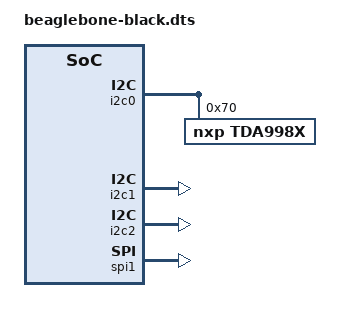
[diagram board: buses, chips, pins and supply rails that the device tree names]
/*-
 * Copyright (c) 2015 Oleksandr Tymoshenko <gonzo@freebsd.org>
 * All rights reserved.
 *
 * Redistribution and use in source and binary forms, with or without
 * modification, are permitted provided that the following conditions
 * are met:
 * 1. Redistributions of source code must retain the above copyright
 *    notice, this list of conditions and the following disclaimer.
 * 2. Redistributions in binary form must reproduce the above copyright
 *    notice, this list of conditions and the following disclaimer in the
 *    documentation and/or other materials provided with the distribution.
 *
 * THIS SOFTWARE IS PROVIDED BY THE AUTHOR AND CONTRIBUTORS ``AS IS'' AND
 * ANY EXPRESS OR IMPLIED WARRANTIES, INCLUDING, BUT NOT LIMITED TO, THE
 * IMPLIED WARRANTIES OF MERCHANTABILITY AND FITNESS FOR A PARTICULAR PURPOSE
 * ARE DISCLAIMED.  IN NO EVENT SHALL THE AUTHOR OR CONTRIBUTORS BE LIABLE
 * FOR ANY DIRECT, INDIRECT, INCIDENTAL, SPECIAL, EXEMPLARY, OR CONSEQUENTIAL
 * DAMAGES (INCLUDING, BUT NOT LIMITED TO, PROCUREMENT OF SUBSTITUTE GOODS
 * OR SERVICES; LOSS OF USE, DATA, OR PROFITS; OR BUSINESS INTERRUPTION)
 * HOWEVER CAUSED AND ON ANY THEORY OF LIABILITY, WHETHER IN CONTRACT, STRICT
 * LIABILITY, OR TORT (INCLUDING NEGLIGENCE OR OTHERWISE) ARISING IN ANY WAY
 * OUT OF THE USE OF THIS SOFTWARE, EVEN IF ADVISED OF THE POSSIBILITY OF
 * SUCH DAMAGE.
 * 
 * $FreeBSD$
 */


#include "am335x-boneblack.dts"
#include "beaglebone-common.dtsi"

&am33xx_pinmux {
	i2c1_pins: pinmux_i2c1_pins {
		pinctrl-single,pins = <
			AM33XX_IOPAD(0x958, PIN_INPUT_PULLUP | MUX_MODE2)	/* spi0_d1.i2c1_sda */
			AM33XX_IOPAD(0x95c, PIN_INPUT_PULLUP | MUX_MODE2)	/* spi0_cs0.i2c1_scl */
		>;
	};

	spi1_pins: pinmux_spi1_pins {
		pinctrl-single,pins = <
			AM33XX_IOPAD(0x964, PIN_INPUT_PULLUP | MUX_MODE2)	/* eCAP0_in_PWM0_out.spi1_cs1 */
			AM33XX_IOPAD(0x990, PIN_INPUT_PULLDOWN | MUX_MODE3)	/* mcasp0_aclkx.spi1_sclk */
			AM33XX_IOPAD(0x994, PIN_INPUT_PULLDOWN | MUX_MODE3)	/* mcasp0_fsx.spi1_d0 - miso */
			AM33XX_IOPAD(0x998, PIN_INPUT_PULLUP | MUX_MODE3)	/* mcasp0_axr0.spi1_d1  - mosi */
			AM33XX_IOPAD(0x99c, PIN_INPUT_PULLUP | MUX_MODE3)	/* mcasp0_ahclkr.spi1_cs0 */
		>;
	};
};

&i2c0 {
	tda998x: hdmi-encoder {
		compatible = "nxp,tda998x";
		reg = <0x70>;

 		pinctrl-names = "default", "off";
 		pinctrl-0 = <&nxp_hdmi_bonelt_pins>;
 		pinctrl-1 = <&nxp_hdmi_bonelt_off_pins>;
		status = "okay";
 	};
};

&i2c1 {
	pinctrl-names = "default";
	pinctrl-0 = <&i2c1_pins>;

	status = "okay";
};

&i2c2 {
	pinctrl-names = "default";
	pinctrl-0 = <&i2c2_pins>;

	status = "okay";
};

&spi1 {
	pinctrl-names = "default";
	pinctrl-0 = <&spi1_pins>;

	status = "okay";
};

&lcdc {
	hdmi = <&tda998x>;
};

/ {
	hdmi {
		status = "disabled";
	};
};
